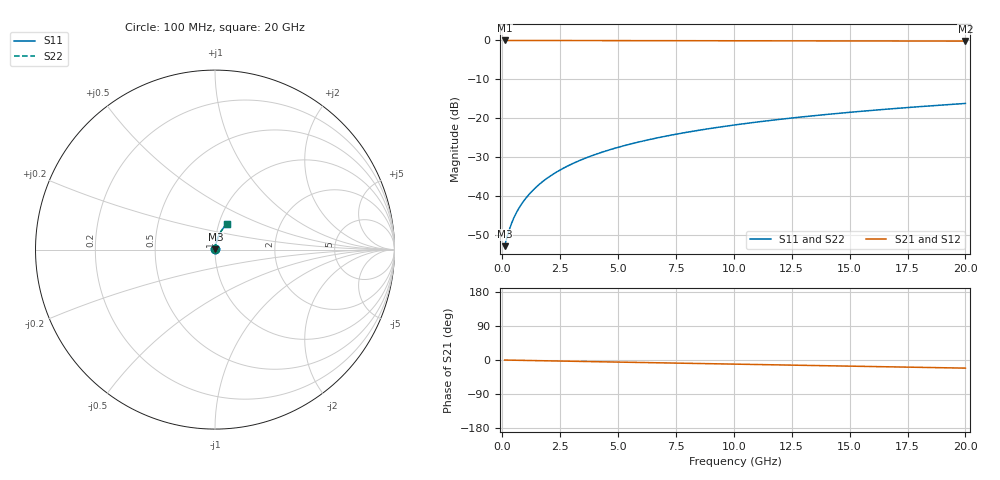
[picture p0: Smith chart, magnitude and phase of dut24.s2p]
! Touchstone file exported from HFSS 2026.1.0
!  File:  C:/ffzhzh/LocalFiles/Ansys_Project_Files/temp_train_BSMRDL_24_1782882095_13352.aedt
!  Generated:  01:02:45 PM Jul  1, 2026
!  Design:  BSMRDL
!  Project:  temp_train_BSMRDL_24_1782882095_13352
! Variables:
!  h_bsmrdl = 3.61um
!  h_ox = 20um
!  h_rdl = 5um
!  h_sub = 80um
!  h_tmrdl = 5um
!  h_tsv = 80um
!  h_via = 3um
!  l_bsmrdl = 332.37um
!  l_sub = 732.37um
!  l_tmrdl = 200um
!  m_sub = 200um
!  pitch = 30.22um
!  r_tsv = 6um
!  s_tmrdl = 10um
!  w_bsmrdl = 17.94um
!  w_sub = 500um
!  w_tmrdl = 12um
!  x_tsv_center1 = 206um
!  x_tsv_center2 = 556.31um
!  x_tsv_center3 = 768.31um
!  x_tsv_center4 = 1118.62um
!  x_tsv_center5 = 1330.62um
!  x_tsv_center6 = 1680.93um
# GHz S MA R 50.000000
! Terminal data exported
! Port[1] = BSM_RDL1_1_T1
! Port[2] = BSM_RDL1_1_T2
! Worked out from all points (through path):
!   200 points, 100 MHz to 20 GHz, reference 50 ohm
!   highest |S21| = -0.02 dB at 100 MHz (marker M1); lowest = -0.2 dB at 20 GHz (marker M2)
!   group delay of S21, straight-line fit = 2.97 ps
!   lowest |S11| = -53.0 dB at 100 MHz (marker M3), VSWR 1.00, Z = 50.2 + j0.101 ohm
!   |S11| at or under -10 dB: start of sweep to end of sweep
!   |S22| runs from -53.0 to -16.2 dB; largest |S21 - S12| = 2.6e-15
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0.1  0.002249 26.6  0.998 -0.1  0.998 -0.1  0.002249 26.6
! Gamma 0 0 0 0
! Port Impedance 50 0 50 0
0.3  0.003643 52.3  0.9978 -0.4  0.9978 -0.4  0.003643 52.3
0.4  0.004425 58.1  0.9977 -0.5  0.9977 -0.5  0.004424 58.0
0.5  0.005209 62.0  0.9976 -0.6  0.9976 -0.6  0.005208 62.0
0.6  0.005993 65.0  0.9975 -0.7  0.9975 -0.7  0.005992 65.0
0.8  0.007573 69.3  0.9974 -0.9  0.9974 -0.9  0.007572 69.3
1  0.009173 72.1  0.9973 -1.1  0.9973 -1.1  0.009171 72.1
1.2  0.01079 74.2  0.9973 -1.3  0.9973 -1.3  0.01079 74.2
1.4  0.01242 75.6  0.9972 -1.6  0.9972 -1.6  0.01242 75.6
1.7  0.01489 77.2  0.9971 -1.9  0.9971 -1.9  0.01489 77.2
2.2  0.01903 78.6  0.9969 -2.5  0.9969 -2.5  0.01903 78.6
2.8  0.02401 79.4  0.9966 -3.1  0.9966 -3.1  0.02401 79.4
3.5  0.0298 79.6  0.9962 -3.9  0.9962 -3.9  0.0298 79.6
4.2  0.03555 79.5  0.9958 -4.7  0.9958 -4.7  0.03555 79.5
5  0.04207 79.1  0.9952 -5.5  0.9952 -5.5  0.04207 79.1
5.9  0.04933 78.5  0.9945 -6.5  0.9945 -6.5  0.04933 78.5
6.8  0.0565 77.7  0.9937 -7.5  0.9937 -7.5  0.0565 77.7
8.3  0.06828 76.4  0.9923 -9.1  0.9923 -9.1  0.06828 76.4
10.1  0.08215 74.8  0.9906 -11.0  0.9906 -11.0  0.08215 74.8
13.4  0.107 71.7  0.9871 -14.5  0.9871 -14.5  0.1069 71.7
16.7  0.131 68.5  0.9834 -18.0  0.9834 -18.0  0.131 68.5
20  0.1543 65.3  0.9793 -21.4  0.9793 -21.4  0.1543 65.3
